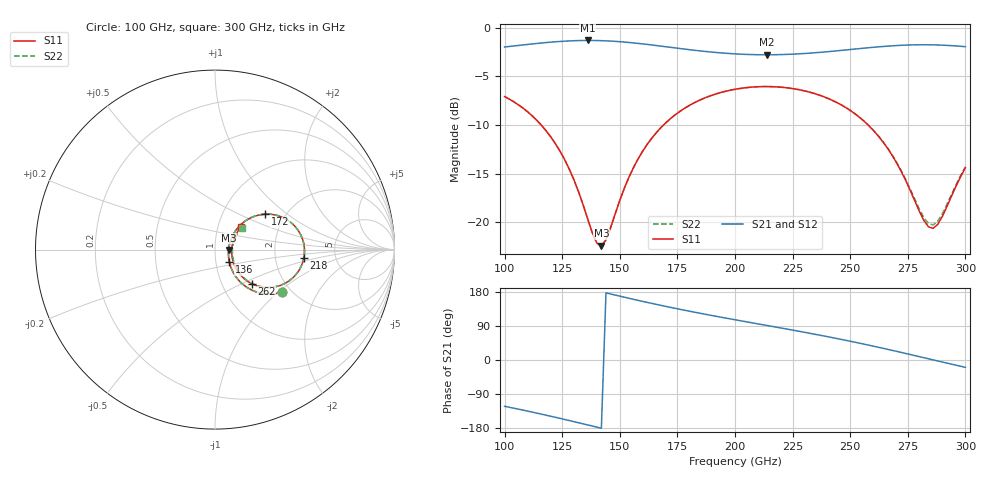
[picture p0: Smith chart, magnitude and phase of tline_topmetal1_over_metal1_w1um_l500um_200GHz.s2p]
#  GHZ S DB R 50
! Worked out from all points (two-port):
!   101 points, 100 GHz to 300 GHz, reference 50 ohm
!   highest |S21| = -1.30 dB at 136 GHz (marker M1); lowest = -2.8 dB at 214 GHz (marker M2)
!   |S21| within 3 dB of the highest: start of sweep to end of sweep
!   lowest |S11| = -22.4 dB at 142 GHz (marker M3), VSWR 1.16, Z = 58.2 - j0.154 ohm
!   |S11| at or under -10 dB: 115.9 GHz to 169 GHz (53.04 GHz wide, 37.2 % of centre); 257.8 GHz to end of sweep
!   |S22| runs from -22.4 to -6.0 dB; largest |S21 - S12| = 9.8e-14
!   S11 on the Smith chart (normalised r, x): 100 GHz: 1.80, -1.06; 136 GHz: 1.16, -0.16; 172 GHz: 1.58, +0.71; 218 GHz: 2.92, -0.38; 262 GHz: 1.38, -0.57; 300 GHz: 1.29, +0.33
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100  -7.07 -32.3  -1.97 -122.2  -1.97 -122.2  -7.07 -32.3
120  -11.20 -49.8  -1.48 -148.4  -1.48 -148.4  -11.21 -49.9
128  -14.49 -52.4  -1.35 -159.7  -1.35 -159.7  -14.50 -52.5
134  -18.14 -46.3  -1.31 -168.4  -1.31 -168.4  -18.16 -46.4
136  -19.59 -40.4  -1.30 -171.3  -1.30 -171.3  -19.61 -40.5
140  -22.10 -17.5  -1.31 -177.1  -1.31 -177.1  -22.14 -17.5
142  -22.41 -1.0  -1.33 -180.0  -1.33 -180.0  -22.44 -1.0
156  -14.34 44.0  -1.56 160.1  -1.56 160.1  -14.34 44.1
168  -10.22 38.5  -1.89 144.0  -1.89 144.0  -10.23 38.6
172  -9.34 35.3  -2.01 138.9  -2.01 138.9  -9.34 35.4
186  -7.30 23.0  -2.41 122.0  -2.41 122.0  -7.30 23.1
200  -6.32 10.4  -2.68 106.2  -2.68 106.2  -6.32 10.5
214  -6.04 -2.1  -2.77 90.9  -2.77 90.9  -6.04 -2.0
218  -6.07 -5.6  -2.76 86.6  -2.76 86.6  -6.07 -5.5
234  -6.72 -20.0  -2.58 68.7  -2.58 68.7  -6.72 -19.8
248  -8.19 -32.4  -2.28 52.0  -2.28 52.0  -8.18 -32.1
262  -11.07 -42.9  -1.97 33.9  -1.97 33.9  -11.05 -42.4
268  -13.03 -45.0  -1.86 25.8  -1.86 25.8  -12.99 -44.3
282  -19.81 -21.8  -1.75 6.0  -1.75 6.0  -19.53 -21.0
286  -20.61 1.0  -1.76 0.3  -1.76 0.3  -20.26 0.8
290  -19.39 22.2  -1.79 -5.4  -1.79 -5.4  -19.11 21.1
300  -14.38 40.7  -1.94 -19.3  -1.94 -19.3  -14.29 39.5
